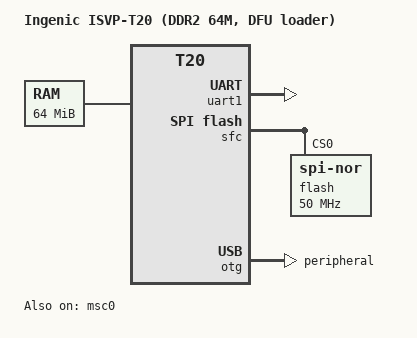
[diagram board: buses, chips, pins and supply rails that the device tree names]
// SPDX-License-Identifier: GPL-2.0+
/*
 * Ingenic ISVP-T20, DFU/USB-boot loader variant.
 *
 * Identical to t20-isvp.dts except the DWC2 OTG is dr_mode =
 * "peripheral" so the dwc2_udc_otg gadget binds (dwc2_udc_otg_bind
 * rejects "host"). Used only by isvp_t20_usbboot_defconfig - the
 * dev/flash loader that USB-boots and auto-enters DFU. Production
 * NOR uses t20-isvp.dts (dr_mode="host" for USB host + USB-NIC).
 */

/dts-v1/;

#include <dt-bindings/gpio/gpio.h>
#include "t20.dtsi"

/ {
	compatible = "ingenic,isvp-t20", "ingenic,t20";
	model = "Ingenic ISVP-T20 (DDR2 64M, DFU loader)";

	aliases {
		serial1 = &uart1;
	};

	chosen {
		stdout-path = "serial1:115200n8";
	};

	memory {
		device_type = "memory";
		reg = <0x0 0x04000000>;	/* 64 MB DDR2 (T20N) */
	};
};

&uart1 {
	status = "okay";
};

&sfc {
	status = "okay";

	flash@0 {
		compatible = "jedec,spi-nor";
		reg = <0>;
		spi-max-frequency = <50000000>;
	};
};

&msc0 {
	status = "okay";
	bus-width = <4>;
	broken-cd;
};

&otg {
	status = "okay";
	dr_mode = "peripheral";		/* gadget bind for DFU/g_dnl */
};
